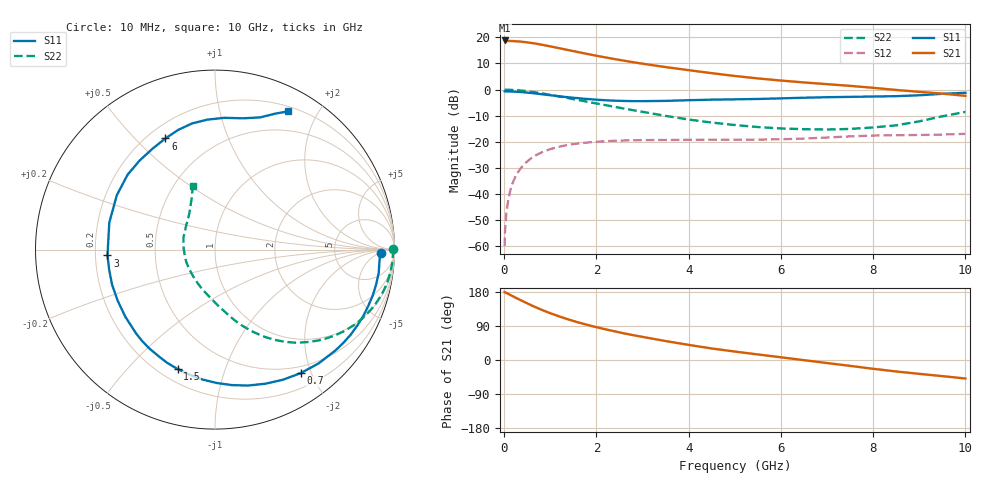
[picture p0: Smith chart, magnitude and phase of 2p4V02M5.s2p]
! (c) 2009  Infineon Technologies AG, Munich
! Infineon Technologies  Discrete & RF Semiconductors
! BFP420
! VCE =  4.0 V,  IC =  2.5 mA
! Common Emitter S-Parameters:  Nov 2009
# GHz  S  MA  R  50
!  f  S11  S21  S12  S22
! GHz  MAG  ANG  MAG  ANG  MAG  ANG  MAG  ANG
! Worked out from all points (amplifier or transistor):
!   46 points, 10 MHz to 10 GHz, reference 50 ohm
!   highest |S21| = 18.8 dB at 10 MHz (marker M1)
!   |S21| within 3 dB of that: start of sweep to 1.202 GHz
!   unconditionally stable (mu >= 1): 3.734 GHz to end of sweep
!   at 300 MHz: K = 0.07, MSG = 25.1 dB, |S12| = -31.7 dB
!   at 1.7 GHz: K = 0.39, MSG = 17.2 dB, |S12| = -20.5 dB
!   at 10 GHz: K = 1.19, MAG = 4.6 dB, |S12| = -17.0 dB
!   lowest NFmin = 0.55 dB at 900 MHz
!   S11 on the Smith chart (normalised r, x): 10 MHz: 24, -7; 700 MHz: 0.40, -1.85; 1.5 GHz: 0.27, -0.70; 3 GHz: 0.25, -0.03; 6 GHz: 0.27, +0.62; 10 GHz: 0.26, +1.62
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0.01  0.926 -1.2  8.733 179.1  0.001 61.6  0.9905 0.1
0.02  0.9208 -1.7  8.49 178.9  0.002 73.2  0.9912 -0.8
0.05  0.9185 -4.0  8.509 176.7  0.0046 80.0  0.9917 -2.1
0.15  0.9184 -12.2  8.529 170.6  0.0133 80.8  0.9869 -6.5
0.3  0.9051 -24.2  8.379 161.4  0.0261 75.4  0.9695 -13.0
0.45  0.8837 -36.1  8.131 152.5  0.0383 69.4  0.9422 -19.2
0.6  0.8577 -47.6  7.801 143.8  0.0493 63.3  0.9064 -25.1
0.7  0.8378 -55.2  7.556 138.4  0.0559 59.5  0.8795 -28.7
1  0.7792 -76.4  6.729 123.5  0.0723 49.3  0.7933 -38.6
1.2  0.7429 -89.4  6.189 114.7  0.0807 43.4  0.736 -44.3
1.5  0.6971 -107.4  5.458 103.1  0.0902 35.8  0.6555 -51.8
1.7  0.6706 -118.5  5.028 96.1  0.0949 31.4  0.6072 -56.1
2.2  0.6241 -143.2  4.128 80.9  0.1026 22.5  0.5031 -65.3
2.6  0.6059 -161.2  3.576 70.3  0.1059 16.7  0.4327 -72.1
3  0.6 -176.9  3.133 61.0  0.1076 12.2  0.3747 -78.1
3.5  0.6078 165.7  2.7 50.0  0.1083 7.6  0.3136 -86.7
4.5  0.6415 139.3  2.063 30.4  0.1094 1.5  0.2334 -107.2
5.5  0.6611 121.8  1.636 14.6  0.1101 -2.0  0.1916 -129.8
6  0.6782 114.0  1.49 7.2  0.1116 -2.8  0.18 -143.0
7  0.7142 100.3  1.27 -8.0  0.1206 -5.1  0.1717 -170.4
8.5  0.7478 78.0  0.984 -30.3  0.1336 -14.2  0.2066 141.6
10  0.8695 62.3  0.758 -48.8  0.1419 -20.1  0.3738 109.3
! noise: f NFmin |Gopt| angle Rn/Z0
0.9  0.55  0.41  33  0.2
1.8  1.02  0.24  78  0.16
2.4  1.11  0.26  103  0.15
3  1.28  0.27  140  0.11
4  1.5  0.34  -163  0.1
5  1.85  0.4  -130  0.26
6  2.56  0.5  -109  0.35
